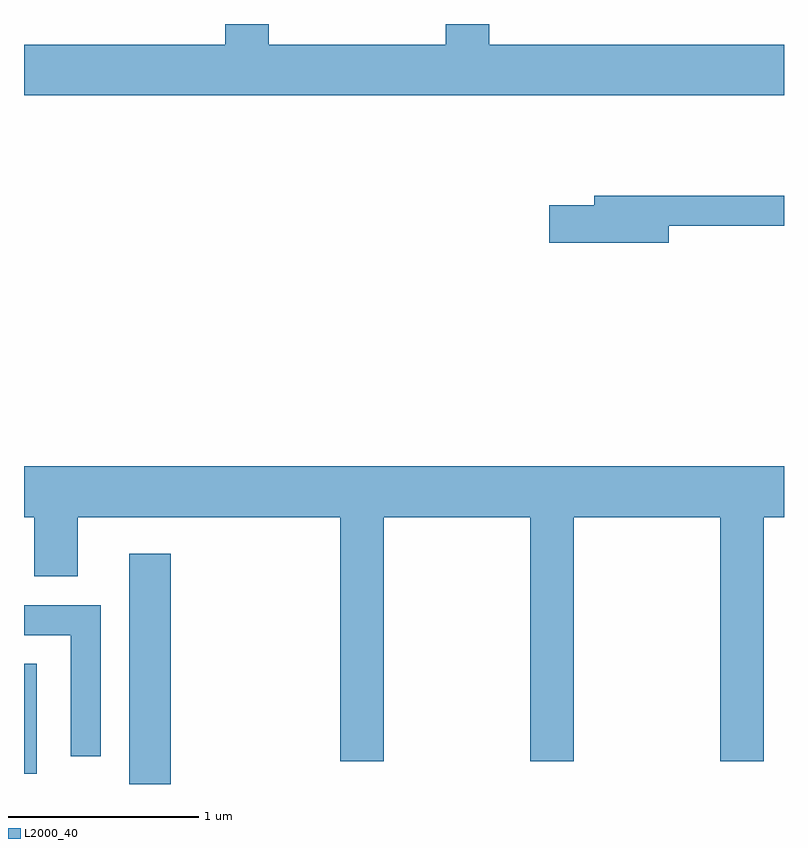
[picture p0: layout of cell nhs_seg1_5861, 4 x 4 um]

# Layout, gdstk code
import gdstk
lib = gdstk.Library(unit=1e-6, precision=1e-09)
def R(c, l, rs):  # rectangles x0, y0, x1, y1
    for r in rs: c.add(gdstk.rectangle(r[:2], r[2:], *l))
def P(c, l, *ps):  # polygons
    for p in ps: c.add(gdstk.Polygon(p, *l))
L2000_40 = (2000, 40)

nhs_seg1_5861 = lib.new_cell('nhs_seg1_5861')
R(nhs_seg1_5861, L2000_40, [(362.166,913.712,362.384,914.924), (361.611,913.766,361.679,914.344)])
P(nhs_seg1_5861, L2000_40, [(365.611,917.604),(364.059,917.604),(364.059,917.712),(363.831,917.712),(363.831,917.604),(362.899,917.604),(362.899,917.712),(362.671,917.712),(362.671,917.604),(361.611,917.604),(361.611,917.336),(365.611,917.336)],
  [(365.004,916.651),(365.611,916.651),(365.611,916.809),(364.611,916.809),(364.611,916.759),(364.376,916.759),(364.376,916.561),(365.004,916.561)],
  [(363.504,915.116),(364.276,915.116),(364.276,913.831),(364.504,913.831),(364.504,915.116),(365.276,915.116),(365.276,913.831),(365.504,913.831),(365.504,915.116),(365.611,915.116),(365.611,915.384),(361.611,915.384),(361.611,915.116),(361.666,915.116),(361.666,914.806),(361.894,914.806),(361.894,915.116),(363.276,915.116),(363.276,913.831),(363.504,913.831)],
  [(362.014,914.654),(361.611,914.654),(361.611,914.496),(361.856,914.496),(361.856,913.858),(362.014,913.858)])

lib.write_gds('nhs_seg1_5861.gds')
